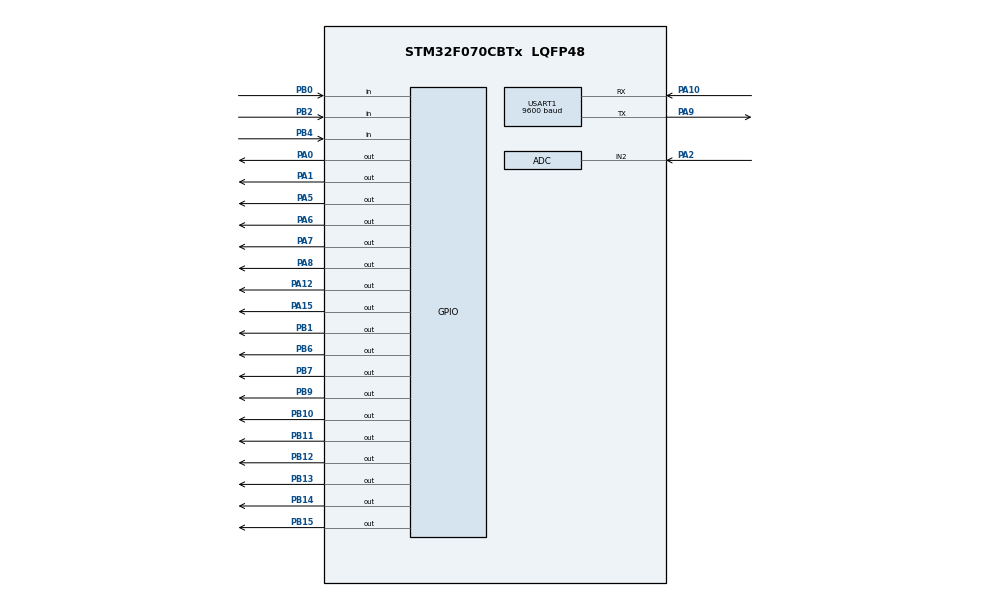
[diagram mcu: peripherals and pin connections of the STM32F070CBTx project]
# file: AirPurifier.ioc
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ADC.Channel-0\#ChannelRegularConversion=ADC_CHANNEL_2
ADC.Channel-IN2=ADC_CHANNEL_2
ADC.ClockPrescaler=ADC_CLOCK_SYNC_PCLK_DIV2
ADC.ContinuousConvMode=ENABLE
ADC.DMAContinuousRequests=ENABLE
ADC.DataAlign=ADC_DATAALIGN_RIGHT
ADC.DiscontinuousConvMode=DISABLE
ADC.EOCSelection=ADC_EOC_SEQ_CONV
ADC.EnableAnalogWatchDog=false
ADC.ExternalTrigConv=ADC_SOFTWARE_START
ADC.ExternalTrigConvEdge=ADC_EXTERNALTRIGCONVEDGE_NONE
ADC.LowPowerAutoPowerOff=DISABLE
ADC.LowPowerAutoWait=DISABLE
ADC.NbrOfConversion=1
ADC.NbrOfConversionFlag=1
ADC.Overrun=ADC_OVR_DATA_OVERWRITTEN
ADC.Rank-0\#ChannelRegularConversion=1
ADC.Resolution=ADC_RESOLUTION_12B
ADC.SamplingTime=ADC_SAMPLETIME_1CYCLE_5
ADC.ScanConvMode=ADC_SCAN_DIRECTION_FORWARD
ADC.master=1
Dma.ADC.2.Direction=DMA_PERIPH_TO_MEMORY
Dma.ADC.2.Instance=DMA1_Channel1
Dma.ADC.2.MemDataAlignment=DMA_MDATAALIGN_HALFWORD
Dma.ADC.2.MemInc=DMA_MINC_ENABLE
Dma.ADC.2.Mode=DMA_CIRCULAR
Dma.ADC.2.PeriphDataAlignment=DMA_PDATAALIGN_HALFWORD
Dma.ADC.2.PeriphInc=DMA_PINC_DISABLE
Dma.ADC.2.Priority=DMA_PRIORITY_LOW
Dma.Request0=USART1_RX
Dma.Request1=USART1_TX
Dma.Request2=ADC
Dma.USART1_RX.0.Direction=DMA_PERIPH_TO_MEMORY
Dma.USART1_RX.0.Instance=DMA1_Channel5
Dma.USART1_RX.0.MemDataAlignment=DMA_MDATAALIGN_BYTE
Dma.USART1_RX.0.MemInc=DMA_MINC_ENABLE
Dma.USART1_RX.0.Mode=DMA_NORMAL
Dma.USART1_RX.0.PeriphDataAlignment=DMA_PDATAALIGN_BYTE
Dma.USART1_RX.0.PeriphInc=DMA_PINC_DISABLE
Dma.USART1_RX.0.Priority=DMA_PRIORITY_LOW
Dma.USART1_TX.1.Direction=DMA_MEMORY_TO_PERIPH
Dma.USART1_TX.1.Instance=DMA1_Channel4
Dma.USART1_TX.1.MemDataAlignment=DMA_MDATAALIGN_BYTE
Dma.USART1_TX.1.MemInc=DMA_MINC_ENABLE
Dma.USART1_TX.1.Mode=DMA_NORMAL
Dma.USART1_TX.1.PeriphDataAlignment=DMA_PDATAALIGN_BYTE
Dma.USART1_TX.1.PeriphInc=DMA_PINC_DISABLE
Dma.USART1_TX.1.Priority=DMA_PRIORITY_LOW
Mcu.Family=STM32F0
Mcu.Name=STM32F070CBTx
Mcu.Package=LQFP48
NVIC.DMA1_Channel1_IRQn=true\:0\:0\:false\:false\:true\:false\:true
NVIC.DMA1_Channel4_5_IRQn=true\:0\:0\:false\:false\:true\:false\:true
NVIC.RCC_IRQn=true\:0\:0\:false\:false\:true\:true\:false
NVIC.TIM16_IRQn=true\:0\:0\:false\:false\:true\:true\:true
NVIC.TIM6_IRQn=true\:0\:0\:false\:false\:true\:true\:true
NVIC.TIM7_IRQn=true\:0\:0\:false\:false\:true\:true\:true
NVIC.USART1_IRQn=true\:0\:0\:false\:false\:true\:true\:true
PA0.Signal=GPIO_Output
PA1.Signal=GPIO_Output
PA10.Mode=Asynchronous
PA10.Signal=USART1_RX
PA12.Signal=GPIO_Output
PA15.Signal=GPIO_Output
PA2.Mode=IN2
PA2.Signal=ADC_IN2
PA5.Signal=GPIO_Output
PA6.Signal=GPIO_Output
PA7.Signal=GPIO_Output
PA8.Signal=GPIO_Output
PA9.Mode=Asynchronous
PA9.Signal=USART1_TX
PB0.Signal=GPIO_Input
PB1.Signal=GPIO_Output
PB10.Signal=GPIO_Output
PB11.Signal=GPIO_Output
PB12.Signal=GPIO_Output
PB13.Signal=GPIO_Output
PB14.Signal=GPIO_Output
PB15.Signal=GPIO_Output
PB2.GPIO_PuPd=GPIO_PULLUP
PB2.Signal=GPIO_Input
PB4.Signal=GPIO_Input
PB6.Signal=GPIO_Output
PB7.Signal=GPIO_Output
PB9.Signal=GPIO_Output
PF0-OSC_IN.Mode=HSE-External-Oscillator
PF0-OSC_IN.Signal=RCC_OSC_IN
PF1-OSC_OUT.Mode=HSE-External-Oscillator
PF1-OSC_OUT.Signal=RCC_OSC_OUT
ProjectManager.HeapSize=0x200
ProjectManager.StackSize=0x400
ProjectManager.TargetToolchain=EWARM V7
TIM16.Period=100-1
TIM16.Prescaler=2-1
TIM6.AutoReloadPreload=TIM_AUTORELOAD_PRELOAD_DISABLE
TIM6.CounterMode=TIM_COUNTERMODE_UP
TIM6.Period=180-1
TIM6.Prescaler=8-1
TIM7.AutoReloadPreload=TIM_AUTORELOAD_PRELOAD_DISABLE
TIM7.CounterMode=TIM_COUNTERMODE_UP
TIM7.Period=1000-1
TIM7.Prescaler=8-1
USART1.AutoBaudRateEnableParam=UART_ADVFEATURE_AUTOBAUDRATE_DISABLE
USART1.BaudRate=9600
USART1.DMADisableonRxErrorParam=ADVFEATURE_DMA_ENABLEONRXERROR
USART1.DataInvertParam=ADVFEATURE_DATAINV_DISABLE
USART1.MSBFirstParam=ADVFEATURE_MSBFIRST_DISABLE
USART1.Mode=MODE_TX_RX
USART1.OneBitSampling=UART_ONE_BIT_SAMPLE_DISABLE
USART1.OverSampling=UART_OVERSAMPLING_16
USART1.OverrunDisableParam=ADVFEATURE_OVERRUN_ENABLE
USART1.Parity=PARITY_NONE
USART1.RxPinLevelInvertParam=ADVFEATURE_RXINV_DISABLE
USART1.StopBits=STOPBITS_1
USART1.SwapParam=ADVFEATURE_SWAP_DISABLE
USART1.TxPinLevelInvertParam=ADVFEATURE_TXINV_DISABLE
USART1.VirtualMode-Asynchronous=VM_ASYNC
USART1.WordLength=WORDLENGTH_8B
VP_TIM16_VS_ClockSourceINT.Mode=Enable_Timer
VP_TIM6_VS_ClockSourceINT.Mode=Enable_Timer
VP_TIM7_VS_ClockSourceINT.Mode=Enable_Timer
board=custom

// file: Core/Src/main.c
/* USER CODE BEGIN Header */
/**
  ******************************************************************************
  * @file           : main.c
  * @brief          : Main program body
  ******************************************************************************
  * @attention
  *
  * <h2><center>&copy; Copyright (c) 2020 STMicroelectronics.
  * All rights reserved.</center></h2>
  *
  * This software component is licensed by ST under BSD 3-Clause license,
  * the "License"; You may not use this file except in compliance with the
  * License. You may obtain a copy of the License at:
  *                        opensource.org/licenses/BSD-3-Clause
  *
  ******************************************************************************
  */
/* USER CODE END Header */
#include "main.h"

ADC_HandleTypeDef hadc;
DMA_HandleTypeDef hdma_adc;

TIM_HandleTypeDef htim6;
TIM_HandleTypeDef htim7;
TIM_HandleTypeDef htim16;

UART_HandleTypeDef huart1;
DMA_HandleTypeDef hdma_usart1_rx;
DMA_HandleTypeDef hdma_usart1_tx;

void SystemClock_Config(void);
static void MX_GPIO_Init(void);
static void MX_DMA_Init(void);
static void MX_USART1_UART_Init(void);
static void MX_ADC_Init(void);
static void MX_TIM6_Init(void);
static void MX_TIM7_Init(void);
static void MX_TIM16_Init(void);
/* USER CODE BEGIN PFP */

#define ADC_CONVERTED_DATA_BUFFER_SIZE   ((uint32_t)  2)
uint16_t aADCxConvertedData[ADC_CONVERTED_DATA_BUFFER_SIZE];

uint16_t ADC_data;
uint8_t Power,Led_Cnt,SensorLedStatus,Error;
uint8_t Mode,BuzMode,WindowMode;

/* 시간 변수
* Time_FanLed : 팬 불량일떄 LED 토글링하기 위한 타이머
* Time_Key_Delay : 키 Debounce Time
* Time_Key : 키 눌린 시간
* Time_Buz : 부저 시간
*/
uint32_t Time_Key_Delay,Time_Key,Time_Buz,Time_I2C,TimeWindowLed,Time_Fan,Time_FanLed,Time_FanPWM,Time_Read,Time_Ionizer,Time_90D,Time_Er_LED,Time_CheckWrite,Time_Uart;
// uint32_t cnt_test=0;
uint16_t cnt;
uint16_t Cov_Cnt;
uint16_t Test_Time;
uint32_t Time_Status;

struct _Flag Flag;
struct _Time Time;
struct _Time  E2PTime;
struct _ErCheck ErCheck;
uint8_t data[4]={20,12,3,4};
//uint8_t TestData[4]={255,255,255,255};
uint8_t TestData[4]={0,0,0,0};               //시간 테스트용 변수    초,분,시,날
uint8_t Read_data[4]={0};
uint8_t Read_data_1[4]={0};
uint8_t Read_data_2[4]={0};
uint8_t SaveTime[4]={0}; // 저장할때 기억을 한다.시간
uint8_t SaveRead[4]={0}; //
uint8_t FanSpeed = 70;
uint8_t FanOnTime = 14;
uint8_t FanOffTime = 21;
//uint8_t test_num=1;

/* 시간(일,시,분,초) 초기화 */
void ClrTime(void)
{
  Time.s=0;Time.min=0;Time.hour=0;Time.day=0;
}

/*  카트리지  잔량 표시등  OFF*/
void CartridgeLedOff(void)
{
  HAL_GPIO_WritePin(GPIOA,GPIO_PIN_0|GPIO_PIN_1|GPIO_PIN_7|GPIO_PIN_5,GPIO_PIN_RESET);
  HAL_GPIO_WritePin(GPIOB,GPIO_PIN_12|GPIO_PIN_11|GPIO_PIN_1|GPIO_PIN_9|GPIO_PIN_14|GPIO_PIN_13,GPIO_PIN_RESET);
}

/*  파워 LED OFF  */
void ClrWindowLed(void)
{
  HAL_GPIO_WritePin(GPIOA,GPIO_PIN_8|GPIO_PIN_15,GPIO_PIN_RESET);
  HAL_GPIO_WritePin(GPIOB,GPIO_PIN_15,GPIO_PIN_RESET);
}

/* 카트리지 사용에 따른 카트리지 LED 변경 */
void DoCartridge(void)
{
  if(WindowMode == E2PWriteCheckEr || WindowMode == E2PReadCheckEr){
    CartridgeLedOff();
    return;
  }
  if(Flag.Cartridge && Power && !(!Flag.Fan && Flag.Error) && Flag.I2CRun){
      //Flag.Fan=1;
      //Flag.Ionizer=1;
      if(E2PTime.day<10){
        HAL_GPIO_WritePin(GPIOA,GPIO_PIN_1|GPIO_PIN_7|GPIO_PIN_0,GPIO_PIN_SET);
        HAL_GPIO_WritePin(GPIOB,GPIO_PIN_1|GPIO_PIN_11|GPIO_PIN_12|GPIO_PIN_13,GPIO_PIN_SET);
        HAL_GPIO_WritePin(GPIOA,GPIO_PIN_5,GPIO_PIN_RESET);
        HAL_GPIO_WritePin(GPIOB,GPIO_PIN_14|GPIO_PIN_9,GPIO_PIN_RESET);
      }
      else if(E2PTime.day<20){
        HAL_GPIO_WritePin(GPIOA,GPIO_PIN_1|GPIO_PIN_7,GPIO_PIN_SET);
        HAL_GPIO_WritePin(GPIOB,GPIO_PIN_1|GPIO_PIN_11|GPIO_PIN_12|GPIO_PIN_13,GPIO_PIN_SET);
        HAL_GPIO_WritePin(GPIOA,GPIO_PIN_0|GPIO_PIN_5,GPIO_PIN_RESET);
        HAL_GPIO_WritePin(GPIOB,GPIO_PIN_14|GPIO_PIN_9,GPIO_PIN_RESET);
      }
      else if(E2PTime.day<30){
        HAL_GPIO_WritePin(GPIOA,GPIO_PIN_7,GPIO_PIN_SET);
        HAL_GPIO_WritePin(GPIOB,GPIO_PIN_1|GPIO_PIN_11|GPIO_PIN_12|GPIO_PIN_13,GPIO_PIN_SET);
        HAL_GPIO_WritePin(GPIOA,GPIO_PIN_1|GPIO_PIN_0|GPIO_PIN_5,GPIO_PIN_RESET);
        HAL_GPIO_WritePin(GPIOB,GPIO_PIN_14|GPIO_PIN_9,GPIO_PIN_RESET);
      }
      else if(E2PTime.day<40){
        HAL_GPIO_WritePin(GPIOB,GPIO_PIN_1|GPIO_PIN_11|GPIO_PIN_12|GPIO_PIN_13,GPIO_PIN_SET);
        HAL_GPIO_WritePin(GPIOA,GPIO_PIN_1|GPIO_PIN_0|GPIO_PIN_5|GPIO_PIN_7,GPIO_PIN_RESET);
        HAL_GPIO_WritePin(GPIOB,GPIO_PIN_14|GPIO_PIN_9,GPIO_PIN_RESET);
      }
      else if(E2PTime.day<50){
        HAL_GPIO_WritePin(GPIOB,GPIO_PIN_11|GPIO_PIN_12|GPIO_PIN_13,GPIO_PIN_SET);
        HAL_GPIO_WritePin(GPIOA,GPIO_PIN_1|GPIO_PIN_0|GPIO_PIN_5|GPIO_PIN_7,GPIO_PIN_RESET);
        HAL_GPIO_WritePin(GPIOB,GPIO_PIN_1|GPIO_PIN_14|GPIO_PIN_9,GPIO_PIN_RESET);
      }
      else if(E2PTime.day<60){
        HAL_GPIO_WritePin(GPIOB,GPIO_PIN_12|GPIO_PIN_13,GPIO_PIN_SET);
        HAL_GPIO_WritePin(GPIOA,GPIO_PIN_1|GPIO_PIN_0|GPIO_PIN_5|GPIO_PIN_7,GPIO_PIN_RESET);
        HAL_GPIO_WritePin(GPIOB,GPIO_PIN_11|GPIO_PIN_1|GPIO_PIN_14|GPIO_PIN_9,GPIO_PIN_RESET);
      }
      else if(E2PTime.day<70){
        HAL_GPIO_WritePin(GPIOB,GPIO_PIN_13,GPIO_PIN_SET);
        HAL_GPIO_WritePin(GPIOA,GPIO_PIN_1|GPIO_PIN_0|GPIO_PIN_5|GPIO_PIN_7,GPIO_PIN_RESET);
        HAL_GPIO_WritePin(GPIOB,GPIO_PIN_12|GPIO_PIN_11|GPIO_PIN_1|GPIO_PIN_14|GPIO_PIN_9,GPIO_PIN_RESET);
      }
      else if(E2PTime.day<80){
        HAL_GPIO_WritePin(GPIOA,GPIO_PIN_5,GPIO_PIN_SET);
        HAL_GPIO_WritePin(GPIOB,GPIO_PIN_14,GPIO_PIN_SET);
        HAL_GPIO_WritePin(GPIOA,GPIO_PIN_1|GPIO_PIN_7|GPIO_PIN_0,GPIO_PIN_RESET);
        HAL_GPIO_WritePin(GPIOB,GPIO_PIN_1|GPIO_PIN_11|GPIO_PIN_12|GPIO_PIN_13|GPIO_PIN_9,GPIO_PIN_RESET);
      }
      else if(E2PTime.day<90){
        HAL_GPIO_WritePin(GPIOA,GPIO_PIN_5,GPIO_PIN_SET);
        HAL_GPIO_WritePin(GPIOA,GPIO_PIN_1|GPIO_PIN_7|GPIO_PIN_0,GPIO_PIN_RESET);
        HAL_GPIO_WritePin(GPIOB,GPIO_PIN_1|GPIO_PIN_11|GPIO_PIN_12|GPIO_PIN_13|GPIO_PIN_14|GPIO_PIN_9,GPIO_PIN_RESET);
      }
      else{
        HAL_GPIO_WritePin(GPIOA,GPIO_PIN_1|GPIO_PIN_5|GPIO_PIN_7|GPIO_PIN_0,GPIO_PIN_RESET);
        HAL_GPIO_WritePin(GPIOB,GPIO_PIN_1|GPIO_PIN_11|GPIO_PIN_12|GPIO_PIN_13|GPIO_PIN_14|GPIO_PIN_9,GPIO_PIN_RESET);
        ClrTime();
        if(Time_90D<250){ // 0.25초 카트리지 R LED ON
          HAL_GPIO_WritePin(GPIOB,GPIO_PIN_9,GPIO_PIN_SET);
          return;
        }
        HAL_GPIO_WritePin(GPIOB,GPIO_PIN_9,GPIO_PIN_RESET);
        if(Time_90D>500){ // vice versa
          Time_90D=0;
        }
      }
  }
  else{
    CartridgeLedOff();
  }
}

/* 부저 울림  - 타이머 동작에 의한 제어
* @ Param BuzMode {0 :  , 2: , 3:, 4:, 5:, 6:}
* @ Param
* 180 - 시간 단위 확인 할것
*/
void DoBuz(void)
{
  if(Flag.Buz){
    switch(BuzMode){
      case 0:
        HAL_TIM_Base_Start_IT(&htim6);
        ++BuzMode;
        break;
      case 1:
        if(Time_Buz<180){break;}
        HAL_TIM_Base_Stop_IT(&htim6);
        ++BuzMode;
        break;
      case 2:
        //if(Flag.Fan==0 && Power && (E2PTime.day<90)){ // 팬고장일시 부저 2번
        if(Flag.Fan==0 && Power){ // 팬고장일시 부저 2번
          BuzMode=3;Time_Buz=0;
          break;
        }
        BuzMode=0;
        Flag.Buz=0;
        break;
      case 3: // 휴식시간
        if(Time_Buz<180){break;}
        HAL_TIM_Base_Start_IT(&htim6);
        ++BuzMode;
        Time_Buz=0;
        break;
      case 4: // 소리 다시
        if(Time_Buz<180){break;}
        HAL_TIM_Base_Stop_IT(&htim6);
        ++BuzMode;
        BuzMode=0;
        Flag.Buz=0;
        break;
      case 5:
        HAL_TIM_Base_Start_IT(&htim6);
        if(Flag.Memory){
          BuzMode=6;
        }
        else{ // 메모리 모드 비활성화
          if(Time_Buz<500){break;}
          HAL_TIM_Base_Stop_IT(&htim6);
          BuzMode=0;
          Flag.Buz=0;
        }
        break;
      case 6:
          if(Time_Buz<180){break;}
          HAL_TIM_Base_Stop_IT(&htim6);
          Time_Buz=0;
          ++BuzMode;
        break;
      case 7:
        if(Time_Buz<180){break;}
        HAL_TIM_Base_Start_IT(&htim6);
        Time_Buz=0;
        ++BuzMode;
        break;
      case 8:
        if(Time_Buz<180){break;}
        HAL_TIM_Base_Stop_IT(&htim6);
        Time_Buz=0;
        ++BuzMode;
        break;
      case 9:
        if(Time_Buz<180){break;}
        HAL_TIM_Base_Start_IT(&htim6);
        Time_Buz=0;
        ++BuzMode;
        break;
      case 10:
        if(Time_Buz<180){break;}
        HAL_TIM_Base_Stop_IT(&htim6);
        BuzMode=0;
        Time_Buz=0;
        Flag.Buz=0;
        break;
      default:BuzMode=0;
        break;
    }
  }
  else{
    Time_Buz=0;BuzMode=0;
    Buz_Off();
  }
}

/* ID CHIP */
void DoI2C(void)
{
  if(Flag.I2C){
    if(HAL_GPIO_ReadPin(GPIOB,GPIO_PIN_2)){ // 카트리지 미삽입
      if(Time_I2C>200){
        Flag.I2C=0;
        //ClrTime();            //20210117 - EEPROM을 뺏다 꼽아도 동작 시간 클리어 X
        if(Power){Flag.Buz=1;}
        WindowMode=Er;
        Flag.Read=0;
        Flag.I2CRun=0;
        //if(Flag.Change){E2PTime.s=0;E2PTime.min=0;E2PTime.hour=0;E2PTime.day=0;Flag.Change=0;}
      }
    }
    else{
      Time_I2C=0;
    }
  }
  else{
    if(!HAL_GPIO_ReadPin(GPIOB,GPIO_PIN_2)){ // 카트리지 삽입
      if(Time_I2C>500){
        Flag.Read=1;
        Flag.I2C=1;
        if(Power){Flag.Buz=1; }
        //WindowMode=Clr;
        Flag.Error=0;
      }
    }
    else{
      Time_I2C=0;
      Flag.Error=1;
    }
  }
}

int8_t sign = 1;
int8_t max  = 2;
int8_t alpha = 0;

void DoFan(void){
  if(Flag.Error || WindowMode == E2PWriteCheckEr || WindowMode == E2PReadCheckEr || E2PTime.day>=90){
    Fan_Off();
    Time_Fan=0;
    return;
  }
  if(Flag.Fan && Power && Flag.I2CRun){                        //I2CRun 추가 해야됨.    // Fan off 시 PB4에 High가 들어옴 Fan 100% 동작 시 대략 4.5ms high 4.5ms low 반복.
    if(!HAL_GPIO_ReadPin(GPIOB,GPIO_PIN_4)){  //팬이 동작할 때 5초간 안들어 올 경우 에러.
      Time_Fan=0;
    }
    if(Time_Fan>5000){
      Flag.Buz=1;
      Flag.Fan=0;
      Flag.Error=1;
    }
    if(!Flag.WindowLed){
      if(Time_FanPWM<4){         //4ms          //나이트 모드
        Fan_On();
      }
      else if(Time_FanPWM<11){  //11ms
        Fan_Off();
      }
      else{Time_FanPWM=0;}
    }
    else{
        Fan_On(); // 정상모드
    }
  }
  else{
    Fan_Off();
    Time_Fan=0;
  }
}

void DoIonizer(void)
{
  if(Flag.Error || WindowMode == E2PWriteCheckEr || WindowMode == E2PReadCheckEr || E2PTime.day>=90){
    Ionizer_Off();
    Time_Ionizer=0;
    return;
  }
  if(Flag.Ionizer && Power){
    if(!Flag.WindowLed){ // 나이트
      if(Time_Ionizer<3000){ Ionizer_On(); }
      else if(Time_Ionizer<8000){ Ionizer_Off(); }
      else{Time_Ionizer=0;}
    }
    else{ // 정상
      Ionizer_On();
      Time_Ionizer=0;
    }
  }
  else{
    Ionizer_Off();
    Time_Ionizer=0;
  }
}

/* 제품 작동 시간에 따른  모드 변경( preheating, Orange, Blue) */
void DoMode()
{
  if(Flag.Error || WindowMode==E2PWriteCheckEr || WindowMode==E2PReadCheckEr){return;}
  //if(Time.min<5 && Time.hour == 0 && Time.day ==0){                       //5분 동작
  if(Time.min<5 && Time.hour == 0 && Time.day ==0){
    Mode=PreHeating;
    WindowMode=ToggleLed;
  }
  //else  if(Time.min<25 && Time.hour == 0 && Time.day ==0){            //20분 동작
    else  if(Time.min<25 && Time.hour == 0 && Time.day ==0){
    Mode=ReferenceValue;
    WindowMode=SensorStatus;
    SensorLedStatus=Orange;
  }
  //else  if(Time.min<30 && Time.hour == 0 && Time.day ==0){            //5분 동작
  else  if(Time.min<30 && Time.hour == 0 && Time.day ==0){
    Mode=Normal_5min;
    WindowMode=SensorStatus;
    SensorLedStatus=Blue;
  }
  else{
    Mode=Normal_30sec;
    WindowMode=SensorStatus;
  }
}

/* 강제 IDCHIP 시간 변경 : Flag.I2cTest , TestData 변경  */
void DoI2CTest(void)
{
  if(Flag.I2CTest){
    I2C_Mem_Write(0xa0,MemAdd,TestData,4);
    E2PTime.s=TestData[0];
    E2PTime.min=TestData[1];
    E2PTime.hour=TestData[2];
    E2PTime.day=TestData[3];
    Flag.I2CTest=0;
  }
}

/* 이벤트에 따른  WindowLed변경 (고장, 파워,  */
void DoWindowLed(void)
{
  if((Flag.Error && Power && Flag.WindowLed) || (E2PTime.day>=90 && Power ) ){
    Blue_Led_Off();
    Orange_Led_Off();

    if(!Flag.Fan && Flag.Error && Power){
      if(Time_FanLed<250){      //Fan 에러일 경우에 Led 토글링 하는 스피드 현재는 0.25초 On 0.25초 Off.
        Red_Led_On();
        return;
      }
      Red_Led_Off();
      if(Time_FanLed>500){
        Time_FanLed=0;
      }
      return;
    }
    else{
      Red_Led_On();
      Time_FanLed=0;
      return;
    }
  }
  if(WindowMode==E2PWriteCheckEr){
    Orange_Led_Off();
    Blue_Led_Off();
    Red_Led_On();
  }
  else if(WindowMode==E2PReadCheckEr){
    Orange_Led_Off();
    Blue_Led_Off();
    Red_Led_On();
  }
  Time_FanLed=0;
  if(Flag.WindowLed && Power){
    switch(WindowMode){
      case ToggleLed:
        if(Led_Cnt==0){
          Blue_Led_On();
          Red_Led_Off();
          Orange_Led_Off();
        }
        else if(Led_Cnt==1){
          Blue_Led_Off();
          Red_Led_Off();
          Orange_Led_On();
        }
        else if(Led_Cnt==2){
          Blue_Led_Off();
          Red_Led_On();
          Orange_Led_Off();
        }
        else{Led_Cnt=0;}

        if(TimeWindowLed<1000){break;}
        TimeWindowLed=0;
        if(++Led_Cnt>2){Led_Cnt=0;}
        break;

      case SensorStatus:
        if(SensorLedStatus==Blue){
          Blue_Led_On();
          Red_Led_Off();
          Orange_Led_Off();
        }
        else if(SensorLedStatus==Orange){
          Blue_Led_Off();
          Red_Led_Off();
          Orange_Led_On();
        }
        else if(SensorLedStatus==Red){
          Blue_Led_Off();
          Red_Led_On();
          Orange_Led_Off();
        }
        break;

      case FanError:
        break;

      case Er:
        Red_Led_On();
        Blue_Led_Off();
        Orange_Led_Off();
        break;
      case Clr:
        Led_Cnt=0;TimeWindowLed=0;WindowMode=ToggleLed;
        break;
    }
  }
  else{
    ClrWindowLed();
  }
}

// LED 판정 ( 샘플링 타임:0.1sec, 샘플링 횟수 :  SamplingNumber, 공기질 판정시간: 샘플링 타임 * 샘플링 횟수 * AveTest)
uint8_t AveTest=30;
uint8_t SamplingNumber=10;
uint16_t Max = 0;
uint16_t Min = 13000;
uint16_t AveMax = 0;
uint16_t AveMin = 13000;
uint16_t consPwm = 125;
uint32_t TimeUs,TimeMs,TimeS;
void HAL_TIM_PeriodElapsedCallback(TIM_HandleTypeDef *htim)
{
  if(htim->Instance == htim6.Instance){ // Tim 6
    Buz_Toggle();
  }
  if(htim->Instance == htim7.Instance){ // Tim 7(ms)
    ++Time_Key_Delay;++Time_Key;
    ++Time_Buz;++Time_I2C;++TimeWindowLed;
    ++Time_Fan;++Time_FanLed;
    ++Time_CheckWrite;
    ++Time_Uart;
    if(++Time_Read>20000){Time_Read=20000;}
    if(++Time_FanPWM>consPwm){Time_FanPWM=consPwm;}
    if(++Time_Ionizer>30000){Time_Ionizer=30000;}
    if(++Time_90D>10000){Time_90D=10000;}
    if(++Time_Er_LED>2000){Time_Er_LED=2000;}
    if(Mode==Normal_5min|Mode==Normal_30sec){ // 샘플링된 센서 값의  Max와 Min 값 제거 후 평균
      if(++Adc.Cnt>100){
        Adc.Cnt=0;
        Max = Max > aADCxConvertedData[0] ? Max : aADCxConvertedData[0];
        Min = Min < aADCxConvertedData[0]? Min : aADCxConvertedData[0];
        Adc.Sum[0]+=aADCxConvertedData[0];
        if(++Adc.Sample>=SamplingNumber){
          Adc.Sample=0;
          Adc.Sum[0] = Adc.Sum[0] -  Max - Min;
          Max = 0;
          Min = 10000;
          Adc.Ave[0]=Adc.Sum[0]/(SamplingNumber-2);
          Adc.Sum[0]=0;
          Flag.UartAdc=1;
          Adc.AveSum+=Adc.Ave[0];
          AveMax = AveMax > Adc.Ave[0] ? AveMax : Adc.Ave[0];
          AveMin = AveMin< Adc.Ave[0]? AveMin: Adc.Ave[0];
          if(++Adc.AveCnt>=AveTest){
            Adc.AveCnt=0;
            Adc.AveReal=(Adc.AveSum-AveMax -AveMin)/(AveTest-2);
            AveMax = 0;
            AveMin  = 10000;
            Adc.AveSum=0;
            Flag.Ave=1;
          }
        }
      }
    }
    else{
      Adc.AveCnt=0;
      Adc.Cnt=0;
      Adc.Ave[0]=0;
      Adc.Sum[0]=0;
    }
    if(Mode==Normal_5min|Mode==Normal_30sec){ // Time Pulse 1초
      if(++Cov_Cnt>1000){
        Cov_Cnt=0;
        ++Time_Pulse;
      }
    }
    /* ADC 테스트 */
    if(++Adc.TestCnt>100){
      Adc.TestCnt=0;
      Adc.TestSum[0]+=aADCxConvertedData[0];
      if(++Adc.TestSample>=SamplingNumber){
        Adc.TestSample=0;
        Adc.TestAve[0]=Adc.TestSum[0]/SamplingNumber;
        Adc.TestSum[0]=0;
      }
    }
  }
}

uint16_t b;
uint8_t buffer[200]={0};
void HAL_SYSTICK_Callback(void)
{
  //++cnt_test;
  if(++Test_Time>60){Test_Time=0;++Time_Status;}

  //if(Flag.Error || !Power || !Flag.I2CRun ){return;}
  if(Flag.Error || !Power || !Flag.I2CRun || WindowMode == E2PWriteCheckEr || WindowMode == E2PReadCheckEr){return;}
  if(E2PTime.day>=90){return;}
  if(++Time.s>=60){
    Time.s=0;
    if(++Time.min>=60){
      Time.min=0;
      if(++Time.hour>=24){
        Time.hour=0;
        if(++Time.day>=90){

        }
      }
    }
  }
  if(++E2PTime.s>=60){                  //저장 얼마마다 한번씩 할껀지 정할것!!! 아마 1분마다 할듯
    E2PTime.s=0;
    if(++E2PTime.min>=60){
      E2PTime.min=0;
      if(++E2PTime.hour>=24){
        E2PTime.hour=0;
        if(++E2PTime.day>=90){
          //Flag.Fan=0;
          //Flag.Ionizer=0;
          //여기에 추가 카트리지 90일 지나면 동작 추가 할 것
        }
      }
    }
    SaveTime[0]=E2PTime.s;
    SaveTime[1]=E2PTime.min;
    SaveTime[2]=E2PTime.hour;
    SaveTime[3]=E2PTime.day;
    if(E2PTime.min==0||E2PTime.min==5||E2PTime.min==10||E2PTime.min==15||E2PTime.min==20||E2PTime.min==25||E2PTime.min==30||E2PTime.min==35||E2PTime.min==40||E2PTime.min==45||E2PTime.min==50||E2PTime.min==55 ){Flag.Write=1;}
    //1분마다일 경우 여기에 저장 & 계속 분,시,날짜를 저장하면 프로그램에 노드가 많이 걸리니깐 DMA가 따로 동작하는지 확인해볼것
  }
}
uint8_t E2PReadCheck_Cnt,E2PWriteCheck_Cnt = 0;
uint8_t write_mode;
int ttt,tt1;
void DoE2P(void)
{
  // 재 검사하는 프로그램 추가해야됨. DMA로 I2C 읽는 프로그램,쓰는 프로그램 추가해서 프로그램 로드 걸리는 일을 없애야됨.
  if(Flag.Read){
    if(Time_Read<100){return;}    //E2PRom 보드가 연결 후 일정 시간 이후에 Read.
    I2C_Mem_Read(0xa0,MemAdd,Read_data,4);
    I2C_Mem_Read(0xa0,MemAdd,Read_data_1,4);
    I2C_Mem_Read(0xa0,MemAdd,Read_data_2,4);
    if(ttt){Read_data_2[0]=5;}// 테스트 소스
    if(Read_data[0]==Read_data_1[0] && Read_data[0]==Read_data_2[0] && Read_data[1]==Read_data_1[1] && Read_data[1]==Read_data_2[1] && Read_data[2]==Read_data_1[2]&& Read_data[2]==Read_data_2[2]){

      if( (!(Read_data[0] == 255 || Read_data[0] == 127)   && (Read_data[0]>60) && (Read_data[0]<255))
          || (!(Read_data[1] == 255 || (Read_data[1] == 127)) && (Read_data[1]>60) && (Read_data[1]<255))
          || (!(Read_data[2] == 255 || (Read_data[2] == 127)) && (Read_data[2]>24) && (Read_data[2]<255))
          || (!(Read_data[3] == 255 || (Read_data[3] == 127)) && (Read_data[3]>90) && (Read_data[3]<255))){ // 비정상 데이터
            ++E2PReadCheck_Cnt;
           //  Flag.Read=1; 정상데이터가 아닐경우 다시 한번 읽을 수 있도록 처리, 중복되므로 제거
      }
      else{ // 정상데이터
        Flag.Read=0;
        E2PTime.s = ( Read_data[0] == 255 || Read_data[0] == 127 ) ? 0 : Read_data[0];
        E2PTime.min = ( Read_data[1] == 255 || Read_data[1] == 127 ) ? 0 : Read_data[1];
        E2PTime.hour = ( Read_data[2] == 255 || Read_data[2] == 127 ) ? 0 : Read_data[2];
        E2PTime.day = ( Read_data[3] == 255 || Read_data[3] == 127 ) ? 0 : Read_data[3];
        Flag.I2CRun=1;
        E2PReadCheck_Cnt=0;
      }
      //ClrTime();                        //5초? 뒤에 제대로 확인되면 현제 시간도 같이 초기화해서 동작
    }
    else{++E2PReadCheck_Cnt;}                                                   //읽은 2개의 데이터가
    if(E2PReadCheck_Cnt>50){
      if(Power){
        WindowMode=E2PReadCheckEr;
        ClrTime();E2PReadCheck_Cnt=0;
      }
    }
  }
  else{
    Flag.Read=0;Time_Read=0;
  }
  if(Flag.Write){
    switch(write_mode){
      case 0:
        I2C_Mem_Write(0xa0,MemAdd,SaveTime,4);
        Time_CheckWrite=0;
        ++write_mode;
        break;
      case 1:
        if(Time_CheckWrite>50){++write_mode;}
        break;
      case 2:
        I2C_Mem_Read(0xa0,MemAdd,SaveRead,4);
        ++write_mode;
        break;
      case 3:
        if(tt1){SaveRead[1]=5;}
        if(SaveRead[1]==SaveTime[1] && SaveRead[2]==SaveTime[2] && SaveRead[3]==SaveTime[3]){
          Flag.Write=0;E2PWriteCheck_Cnt=0;Flag.UartSaveRead=1;
        }
        else{++E2PWriteCheck_Cnt;}  //저장한 데이터와 다시 읽은 데이터가 다를 경우 카운트 증가
        write_mode=0;
        break;
      default:
        write_mode=0;
        break;
    }
    if(E2PWriteCheck_Cnt>50){                                                     //10번 잘못 되었을 경우 에러 표시 LED 1초 ON/1초 OFF
      if(Power){
        WindowMode = E2PWriteCheckEr;
        Flag.Write=0;ClrTime();E2PWriteCheck_Cnt=0;
      }
    }
  }
  else{Time_CheckWrite=0;}
}
void DoUart()
{
  if(Time_Uart>100){
    Time_Uart=0;
     if(Flag.UartSaveRead){
       sprintf(buffer,"SaveTimeMin= %.2d SaveTimeHour= %2d SaveTimeDay=%2d\r\n",SaveRead[1],SaveRead[2],SaveRead[3]);
       HAL_UART_Transmit_DMA(&huart1,buffer,strlen(buffer));
       Flag.UartSaveRead=0;
    }
    else{
      if(Flag.UartAdc){
        Adc.V2=(V3_3*Adc.TestAve[0])/4096;           //1.66V?
        Adc.V1=(Adc.V2*R1)/R2;                        //3.38V-1.66V -> 1.72V
        Adc.VRL=Adc.V1+Adc.V2;                             //3.38V
        Adc.Rs=(int)(R1+R2)*(V5/Adc.VRL-1);

        if(!Flag.Fan && Flag.Error &&Power){
           sprintf(buffer,"Volt5= %.4f Rs5= %4d FanEr!! ErCheck=%d\r\n", Adc.V2,Adc.Rs,ErCheck.CheckNum);
        }
        else if(!Flag.I2C && Flag.Error){
           sprintf(buffer,"Volt5= %.4f Rs5= %4d E2PEr!! ErCheck=%d\r\n", Adc.V2,Adc.Rs,ErCheck.CheckNum);
        }
        else{
            if(Mode==Normal_30sec){
              if(SensorLedStatus==Blue){
                sprintf(buffer,"Volt5= %.4f Rs5= %4d RsCur5=%4d RsAir5=%4d LED5=B slope=%.4f buffer=%4d Pulse=%3d ErCheck=%d\r\n",Adc.V2,Adc.Rs,Adc.RsCur,Adc.RsAirCur, (float)Adc.RsCur/(float)Adc.RsAirCur,Adc.RsBufCur,Pulse,ErCheck.CheckNum);       //테스트 하는 모듈 번호를 Volt8과 Rs8에 수정
              }
              else if(SensorLedStatus==Orange){
                sprintf(buffer,"Volt5= %.4f Rs5= %4d RsCur5=%4d RsAir5=%4d LED5=O slope=%.4f buffer=%4d Pulse=%3d ErCheck=%d\r\n",Adc.V2,Adc.Rs,Adc.RsCur,Adc.RsAirCur,(float)Adc.RsCur/(float)Adc.RsAirCur,Adc.RsBufCur,Pulse,ErCheck.CheckNum);       //테스트 하는 모듈 번호를 Volt8과 Rs8에 수정
              }
              else if(SensorLedStatus==Red){
                sprintf(buffer,"Volt5= %.4f Rs5= %4d RsCur5=%4d RsAir5=%4d LED5=R slope=%.4f buffer=%4d Pulse=%3d ErCheck=%d\r\n",Adc.V2,Adc.Rs,Adc.RsCur,Adc.RsAirCur,(float)Adc.RsCur/(float)Adc.RsAirCur,Adc.RsBufCur,Pulse,ErCheck.CheckNum);       //테스트 하는 모듈 번호를 Volt8과 Rs8에 수정
              }
            }
            else{
              sprintf(buffer,"Volt5= %.4f Rs5= %4d RsCur5=0 RsAir5=0 LED5=N ErCheck=%d\r\n",Adc.V2,Adc.Rs,ErCheck.CheckNum);                  //테스트 하는 모듈 번호를 Volt8과 Rs8에 수정
            }
        }
        HAL_UART_Transmit_DMA(&huart1,buffer,strlen(buffer));
        Flag.UartAdc=0;
      }
    }
  }
}
#define StartAddr ((unsigned int)0x0801F800)
uint8_t test;
uint8_t Flash;
void DoFlashE2P()
{
  if(Flag.FlashE2P){
    Flag.FlashE2P=0;
    HAL_FLASH_Unlock();

    FLASH_PageErase(0x0801F800);
    CLEAR_BIT(FLASH->CR, FLASH_CR_PER);
    HAL_FLASH_Program( FLASH_TYPEPROGRAM_WORD, 0x0801F800, Flag.Memory);
    HAL_FLASH_Program( FLASH_TYPEPROGRAM_WORD, 0x0801F804, Flag.WindowLed);
    HAL_FLASH_Program( FLASH_TYPEPROGRAM_WORD, 0x0801F808, Flag.Cartridge);
    HAL_FLASH_Program( FLASH_TYPEPROGRAM_WORD, 0x0801F80C, Power);
    HAL_FLASH_Lock();
  }
  if(Flag.FlashClr){
    Flag.FlashClr=0;
    HAL_FLASH_Unlock();

    FLASH_PageErase(0x0801F800);
    CLEAR_BIT(FLASH->CR, FLASH_CR_PER);
    HAL_FLASH_Program( FLASH_TYPEPROGRAM_WORD, 0x0801F800, 0);
    HAL_FLASH_Program( FLASH_TYPEPROGRAM_WORD, 0x0801F804, 0);
    HAL_FLASH_Program( FLASH_TYPEPROGRAM_WORD, 0x0801F808, 0);
    HAL_FLASH_Program( FLASH_TYPEPROGRAM_WORD, 0x0801F80C, 0);
    HAL_FLASH_Lock();
  }
}
void DoErrorCheck()
{
  uint8_t buf;
  if(ErCheck.WriteFlag && ErCheck.WriteNum){            //라이팅 하고 싶은 데이터값을 ErCheck.WriteNum에 넣고 ErCheck.WriteFlag을 1로 셋팅해야 들어가짐. 0으로 쓰고 싶으면 ErCheck.ClrFlag를 1로 셋팅하면됨.
      HAL_FLASH_Unlock();
      FLASH_PageErase(0x0801fff0);
      CLEAR_BIT(FLASH->CR, FLASH_CR_PER);
      HAL_FLASH_Program( FLASH_TYPEPROGRAM_WORD, 0x0801fff0, ErCheck.WriteNum);
      HAL_FLASH_Lock();
      buf=*(uint32_t*) 0x0801fff0;
      if(buf==ErCheck.WriteNum){ErCheck.WriteFlag=0;ErCheck.WriteNum=0;}
  }
  if(ErCheck.ReadFlag){                                         //리딩 테스트 함수 ErCheck.ReadFlag을 1로 하면 ErCheck.ReadNum에 값이 들어옴.
      ErCheck.ReadNum = *(uint32_t*) 0x0801fff0;
      buf=*(uint32_t*) 0x0801fff0;
      if(buf==ErCheck.ReadNum){ErCheck.ReadFlag=0;}
  }
  if(ErCheck.ClrFlag){
    HAL_FLASH_Unlock();
    FLASH_PageErase(0x0801fff0);
    CLEAR_BIT(FLASH->CR, FLASH_CR_PER);
    HAL_FLASH_Program( FLASH_TYPEPROGRAM_WORD, 0x0801fff0, 0);
    HAL_FLASH_Lock();
    buf= *(uint32_t*) 0x0801fff0;
    if(buf==0){ErCheck.ClrFlag=0;}
  }
}

/* USER CODE END PFP */

int main(void)
{

  /* MCU Configuration--------------------------------------------------------*/

  /* Reset of all peripherals, Initializes the Flash interface and the Systick. */
  HAL_Init();

  /* Configure the system clock */
  SystemClock_Config();

  /* Initialize all configured peripherals */
  MX_GPIO_Init();
  MX_DMA_Init();
  MX_USART1_UART_Init();
  MX_ADC_Init();
  MX_TIM6_Init();
  MX_TIM7_Init();
  MX_TIM16_Init();
  /* USER CODE BEGIN 2 */
  HAL_SYSTICK_Config(HAL_RCC_GetHCLKFreq());
  HAL_TIM_Base_Start_IT(&htim7);
  if (HAL_ADC_Start_DMA(&hadc,
                      (uint32_t *)aADCxConvertedData,
                      ADC_CONVERTED_DATA_BUFFER_SIZE
                     ) != HAL_OK)
  {
    Error_Handler();
  }
  /////////변수 테스트 삭제.

  Flag.Buz=1;

  Flag.Memory = *(uint32_t*) 0x0801F800;
  if(Flag.Memory==0xfe){Flag.Memory=1;}
  else if(Flag.Memory==0xff){Flag.Memory=0;}
  if(Flag.Memory){
    Flag.WindowLed = *(uint32_t*) 0x0801F804;
    Flag.Cartridge = *(uint32_t*) 0x0801F808;
    Power = *(uint32_t*) 0x0801F80C;
    if(Power){
      Flag.Fan=1;
      Flag.Ionizer=1;
    }
  }
  /////////////////////////////////////////////////////////////////////////////////////버전 추가
  //sprintf(buffer,"0812크래누보 버젼  \r\n");
  /* USER CODE END 2 */

  /* Infinite loop */
  /* USER CODE BEGIN WHILE */
  while (1)
  {
    DoSensor();
    DoCartridge();
    DoBuz();
    DoKey();
    DoI2C();
    DoWindowLed();
    DoIonizer();
    DoI2CTest();
    DoMode();
    DoFan();
    DoE2P();
    DoUart();
    DoFlashE2P();
    DoErrorCheck();
    /* USER CODE END WHILE */

  }
}

void SystemClock_Config(void)
{
  RCC_OscInitTypeDef RCC_OscInitStruct = {0};
  RCC_ClkInitTypeDef RCC_ClkInitStruct = {0};
  RCC_PeriphCLKInitTypeDef PeriphClkInit = {0};

  /** Initializes the RCC Oscillators according to the specified parameters
  * in the RCC_OscInitTypeDef structure.
  */
  RCC_OscInitStruct.OscillatorType = RCC_OSCILLATORTYPE_HSI;
  RCC_OscInitStruct.HSIState = RCC_HSI_ON;
  RCC_OscInitStruct.HSICalibrationValue = RCC_HSICALIBRATION_DEFAULT;
  RCC_OscInitStruct.PLL.PLLState = RCC_PLL_NONE;
  if (HAL_RCC_OscConfig(&RCC_OscInitStruct) != HAL_OK)
  {
    Error_Handler();
  }
  /** Initializes the CPU, AHB and APB buses clocks
  */
  RCC_ClkInitStruct.ClockType = RCC_CLOCKTYPE_HCLK|RCC_CLOCKTYPE_SYSCLK
                              |RCC_CLOCKTYPE_PCLK1;
  RCC_ClkInitStruct.SYSCLKSource = RCC_SYSCLKSOURCE_HSI;
  RCC_ClkInitStruct.AHBCLKDivider = RCC_SYSCLK_DIV1;
  RCC_ClkInitStruct.APB1CLKDivider = RCC_HCLK_DIV1;

  if (HAL_RCC_ClockConfig(&RCC_ClkInitStruct, FLASH_LATENCY_0) != HAL_OK)
  {
    Error_Handler();
  }
  PeriphClkInit.PeriphClockSelection = RCC_PERIPHCLK_USART1;
  PeriphClkInit.Usart1ClockSelection = RCC_USART1CLKSOURCE_PCLK1;
  if (HAL_RCCEx_PeriphCLKConfig(&PeriphClkInit) != HAL_OK)
  {
    Error_Handler();
  }
}

static void MX_ADC_Init(void)
{

  ADC_ChannelConfTypeDef sConfig = {0};

  /** Configure the global features of the ADC (Clock, Resolution, Data Alignment and number of conversion)
  */
  hadc.Instance = ADC1;
  hadc.Init.ClockPrescaler = ADC_CLOCK_SYNC_PCLK_DIV2;
  hadc.Init.Resolution = ADC_RESOLUTION_12B;
  hadc.Init.DataAlign = ADC_DATAALIGN_RIGHT;
  hadc.Init.ScanConvMode = ADC_SCAN_DIRECTION_FORWARD;
  hadc.Init.EOCSelection = ADC_EOC_SEQ_CONV;
  hadc.Init.LowPowerAutoWait = DISABLE;
  hadc.Init.LowPowerAutoPowerOff = DISABLE;
  hadc.Init.ContinuousConvMode = ENABLE;
  hadc.Init.DiscontinuousConvMode = DISABLE;
  hadc.Init.ExternalTrigConv = ADC_SOFTWARE_START;
  hadc.Init.ExternalTrigConvEdge = ADC_EXTERNALTRIGCONVEDGE_NONE;
  hadc.Init.DMAContinuousRequests = ENABLE;
  hadc.Init.Overrun = ADC_OVR_DATA_OVERWRITTEN;
  hadc.Init.SamplingTimeCommon    = ADC_SAMPLETIME_71CYCLES_5;  //이거 추가해야 동작함....왜??
  if (HAL_ADC_Init(&hadc) != HAL_OK)
  {
    Error_Handler();
  }
  /** Configure for the selected ADC regular channel to be converted.
  */
  sConfig.Channel = ADC_CHANNEL_2;
  sConfig.Rank = ADC_RANK_CHANNEL_NUMBER;
  sConfig.SamplingTime = ADC_SAMPLETIME_1CYCLE_5;
  if (HAL_ADC_ConfigChannel(&hadc, &sConfig) != HAL_OK)
  {
    Error_Handler();
  }

}

static void MX_TIM6_Init(void)
{

  htim6.Instance = TIM6;
  htim6.Init.Prescaler = 8-1;
  htim6.Init.CounterMode = TIM_COUNTERMODE_UP;
  htim6.Init.Period = 180-1;
  htim6.Init.AutoReloadPreload = TIM_AUTORELOAD_PRELOAD_DISABLE;
  if (HAL_TIM_Base_Init(&htim6) != HAL_OK)
  {
    Error_Handler();
  }

}

static void MX_TIM7_Init(void)
{

  htim7.Instance = TIM7;
  htim7.Init.Prescaler = 8-1;
  htim7.Init.CounterMode = TIM_COUNTERMODE_UP;
  htim7.Init.Period = 1000-1;
  htim7.Init.AutoReloadPreload = TIM_AUTORELOAD_PRELOAD_DISABLE;
  if (HAL_TIM_Base_Init(&htim7) != HAL_OK)
  {
    Error_Handler();
  }

}

static void MX_TIM16_Init(void)
{

  htim16.Instance = TIM16;
  htim16.Init.Prescaler = 2-1;
  htim16.Init.CounterMode = TIM_COUNTERMODE_UP;
  htim16.Init.Period = 400-1;
  htim16.Init.ClockDivision = TIM_CLOCKDIVISION_DIV1;
  htim16.Init.RepetitionCounter = 0;
  htim16.Init.AutoReloadPreload = TIM_AUTORELOAD_PRELOAD_DISABLE;
  if (HAL_TIM_Base_Init(&htim16) != HAL_OK)
  {
    Error_Handler();
  }

}

static void MX_USART1_UART_Init(void)
{

  huart1.Instance = USART1;
  huart1.Init.BaudRate = 9600;
  huart1.Init.WordLength = UART_WORDLENGTH_8B;
  huart1.Init.StopBits = UART_STOPBITS_1;
  huart1.Init.Parity = UART_PARITY_NONE;
  huart1.Init.Mode = UART_MODE_TX_RX;
  huart1.Init.HwFlowCtl = UART_HWCONTROL_NONE;
  huart1.Init.OverSampling = UART_OVERSAMPLING_16;
  huart1.Init.OneBitSampling = UART_ONE_BIT_SAMPLE_DISABLE;
  huart1.AdvancedInit.AdvFeatureInit = UART_ADVFEATURE_NO_INIT;
  if (HAL_UART_Init(&huart1) != HAL_OK)
  {
    Error_Handler();
  }

}

static void MX_DMA_Init(void)
{

  /* DMA controller clock enable */
  __HAL_RCC_DMA1_CLK_ENABLE();

  /* DMA interrupt init */
  /* DMA1_Channel1_IRQn interrupt configuration */
  HAL_NVIC_SetPriority(DMA1_Channel1_IRQn, 0, 0);
  HAL_NVIC_EnableIRQ(DMA1_Channel1_IRQn);
  /* DMA1_Channel4_5_IRQn interrupt configuration */
  HAL_NVIC_SetPriority(DMA1_Channel4_5_IRQn, 0, 0);
  HAL_NVIC_EnableIRQ(DMA1_Channel4_5_IRQn);

}

static void MX_GPIO_Init(void)
{
  GPIO_InitTypeDef GPIO_InitStruct = {0};

  /* GPIO Ports Clock Enable */
  __HAL_RCC_GPIOF_CLK_ENABLE();
  __HAL_RCC_GPIOA_CLK_ENABLE();
  __HAL_RCC_GPIOB_CLK_ENABLE();

  /*Configure GPIO pin Output Level */
  HAL_GPIO_WritePin(GPIOA, GPIO_PIN_0|GPIO_PIN_1|GPIO_PIN_5|GPIO_PIN_6
                          |GPIO_PIN_7|GPIO_PIN_8|GPIO_PIN_12|GPIO_PIN_15, GPIO_PIN_RESET);

  /*Configure GPIO pin Output Level */
  HAL_GPIO_WritePin(GPIOB, GPIO_PIN_1|GPIO_PIN_10|GPIO_PIN_11|GPIO_PIN_12
                          |GPIO_PIN_13|GPIO_PIN_14|GPIO_PIN_15|GPIO_PIN_6
                          |GPIO_PIN_7|GPIO_PIN_9, GPIO_PIN_RESET);

  /*Configure GPIO pins : PA0 PA1 PA5 PA6
                           PA7 PA8 PA12 PA15 */
  GPIO_InitStruct.Pin = GPIO_PIN_0|GPIO_PIN_1|GPIO_PIN_5|GPIO_PIN_6
                          |GPIO_PIN_7|GPIO_PIN_8|GPIO_PIN_12|GPIO_PIN_15;
  GPIO_InitStruct.Mode = GPIO_MODE_OUTPUT_PP;
  GPIO_InitStruct.Pull = GPIO_NOPULL;
  GPIO_InitStruct.Speed = GPIO_SPEED_FREQ_LOW;
  HAL_GPIO_Init(GPIOA, &GPIO_InitStruct);

  /*Configure GPIO pins : PB0 PB4 */
  GPIO_InitStruct.Pin = GPIO_PIN_0|GPIO_PIN_4;
  GPIO_InitStruct.Mode = GPIO_MODE_INPUT;
  GPIO_InitStruct.Pull = GPIO_NOPULL;
  HAL_GPIO_Init(GPIOB, &GPIO_InitStruct);

  /*Configure GPIO pins : PB1 PB10 PB11 PB12
                           PB13 PB14 PB15 PB6
                           PB7 PB9 */
  GPIO_InitStruct.Pin = GPIO_PIN_1|GPIO_PIN_10|GPIO_PIN_11|GPIO_PIN_12
                          |GPIO_PIN_13|GPIO_PIN_14|GPIO_PIN_15|GPIO_PIN_6
                          |GPIO_PIN_7|GPIO_PIN_9;
  GPIO_InitStruct.Mode = GPIO_MODE_OUTPUT_PP;
  GPIO_InitStruct.Pull = GPIO_NOPULL;
  GPIO_InitStruct.Speed = GPIO_SPEED_FREQ_LOW;
  HAL_GPIO_Init(GPIOB, &GPIO_InitStruct);

  /*Configure GPIO pin : PB2 */
  GPIO_InitStruct.Pin = GPIO_PIN_2;
  GPIO_InitStruct.Mode = GPIO_MODE_INPUT;
  GPIO_InitStruct.Pull = GPIO_PULLUP;
  HAL_GPIO_Init(GPIOB, &GPIO_InitStruct);

}

void Error_Handler(void)
{
  __disable_irq();
  while (1)
  {
  }
}

/************************ (C) COPYRIGHT STMicroelectronics *****END OF FILE****/
